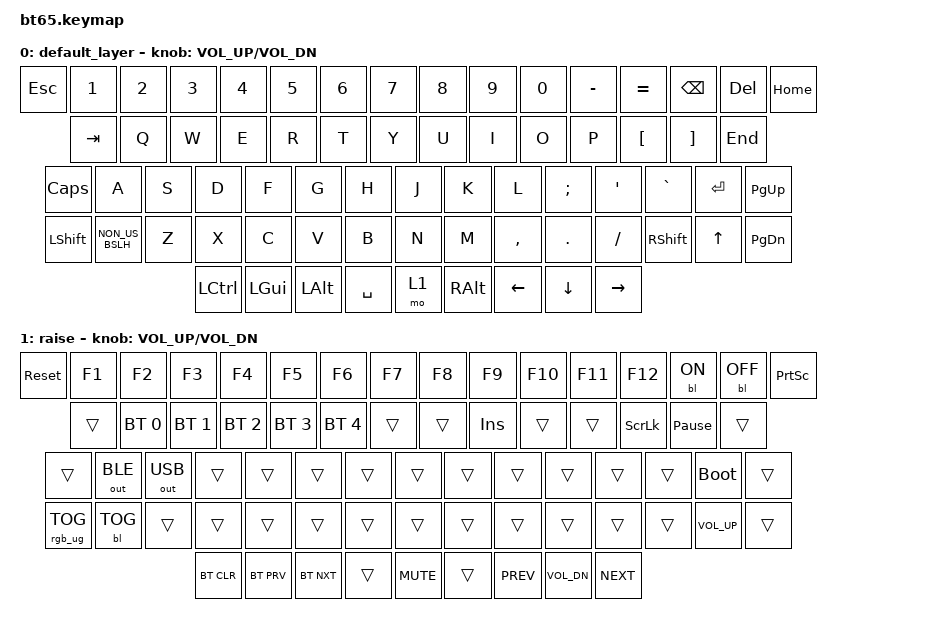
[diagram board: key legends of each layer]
#include <behaviors.dtsi>
#include <dt-bindings/zmk/keys.h>
#include <dt-bindings/zmk/bt.h>
#include <dt-bindings/zmk/rgb.h>
#include <dt-bindings/zmk/backlight.h>
#include <dt-bindings/zmk/outputs.h>



/ {
	keymap {
		compatible = "zmk,keymap";

		default_layer {
				// ------------------------------------------------------------------------------------------------------------
				// |  ESC  |  1  |  2  |  3  |  4  |  5  |  6  |  7  |  8  |  9  |  0  |  -  |  =  | BSPC  | DEL	| HOME	|
				// |  TAB  |  Q  |  W  |  E  |  R  |  T  |  Y  |  U  |  I  |  O  |  P  |  [  |  ]   | 					END | 
				// | CAPS  |  A  |  S  |  D  |  F  |  G  |  H  |  J  |  K  |  L  |  ;  |  '  |   ` |	  ENTER    |PGUP	|
				// | SHIFT |  \  |  Z  |  X  |  C  |  V  |  B  |  N  |  M  |  ,  |  .  | /   |   SHIFT  | UP   | PGDN       |
				// |  CTL  |  WIN  |  ALT  |            SPACE               | Fn | ALT   |  	| LEFT |  DOWN    | RIGHT	|
				// ------------------------------------------------------------------------------------------------------------
			bindings = <

				&kp ESC &kp N1 &kp N2 &kp N3 &kp N4 &kp N5 &kp N6 &kp N7 &kp  N8   &kp  N9 &kp  N0  &kp MINUS &kp EQUAL &kp BSPC &kp DEL &kp HOME
				&kp TAB  &kp Q  &kp W  &kp E  &kp R  &kp T  &kp Y  &kp U  &kp  I    &kp  O  &kp  P   &kp LBKT &kp RBKT  	 &kp END
				&kp CAPS  &kp A  &kp S  &kp D  &kp F  &kp G  &kp H  &kp J  &kp  K    &kp  L  &kp SEMI &kp SQT	&kp GRAVE  &kp RET &kp PG_UP
				&kp LSHFT &kp NON_US_BSLH &kp Z  &kp X  &kp C  &kp V  &kp B  &kp N  &kp M  &kp COMMA &kp DOT &kp FSLH &kp RSHIFT	&kp UP &kp PG_DN
				&kp LCTRL &kp LGUI &kp LALT            &kp SPACE                          &mo 1	&kp RALT    &kp LEFT &kp DOWN &kp RIGHT
			>;
			sensor-bindings = <&inc_dec_kp C_VOL_UP C_VOL_DN>;
		};
		raise {
			bindings = <
				&sys_reset &kp F1 &kp F2 &kp F3 &kp F4 &kp F5 &kp F6 &kp F7 &kp F8 &kp F9 &kp F10 &kp F11 &kp F12 &bl BL_ON &bl BL_OFF &kp PSCRN 
				&trans &bt BT_SEL 0 &bt BT_SEL 1 &bt BT_SEL 2 &bt BT_SEL 3 &bt BT_SEL 4 &trans &trans &kp INS &trans &trans &kp SLCK &kp PAUSE_BREAK  &trans
				&trans &out OUT_BLE &out OUT_USB &trans &trans &trans &trans &trans &trans &trans &trans  &trans &trans  &bootloader &trans
				&rgb_ug RGB_TOG &bl BL_TOG &trans &trans &trans &trans &trans &trans &trans &trans &trans &trans &trans &kp C_VOL_UP &trans
				&bt BT_CLR &bt BT_PRV &bt BT_NXT               &trans                            &kp C_MUTE   &trans &kp C_PREV    &kp C_VOL_DN &kp C_NEXT
			>;
			sensor-bindings = <&inc_dec_kp C_VOL_UP C_VOL_DN>;
		};
	};
};
